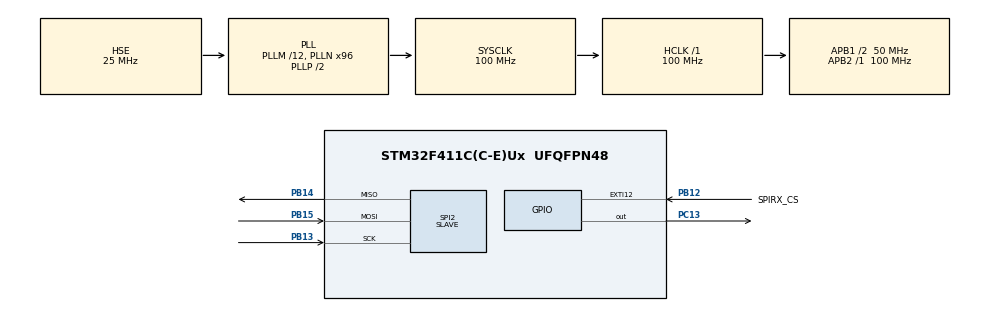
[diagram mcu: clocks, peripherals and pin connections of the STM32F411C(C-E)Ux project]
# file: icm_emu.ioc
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Mcu.Family=STM32F4
Mcu.Name=STM32F411C(C-E)Ux
Mcu.Package=UFQFPN48
NVIC.EXTI15_10_IRQn=true\:0\:0\:false\:false\:true\:true\:true\:true
NVIC.PriorityGroup=NVIC_PRIORITYGROUP_4
NVIC.SPI2_IRQn=true\:0\:0\:false\:false\:true\:true\:true\:true
PB12.GPIO_Label=SPIRX_CS
PB12.GPIO_ModeDefaultEXTI=GPIO_MODE_IT_FALLING
PB12.Signal=GPXTI12
PB13.Mode=Full_Duplex_Slave
PB13.Signal=SPI2_SCK
PB14.Mode=Full_Duplex_Slave
PB14.Signal=SPI2_MISO
PB15.Mode=Full_Duplex_Slave
PB15.Signal=SPI2_MOSI
PC13-ANTI_TAMP.Signal=GPIO_Output
PH0\ -\ OSC_IN.Mode=HSE-External-Oscillator
PH0\ -\ OSC_IN.Signal=RCC_OSC_IN
PH1\ -\ OSC_OUT.Mode=HSE-External-Oscillator
PH1\ -\ OSC_OUT.Signal=RCC_OSC_OUT
ProjectManager.HeapSize=0x200
ProjectManager.StackSize=0x400
ProjectManager.TargetToolchain=STM32CubeIDE
RCC.48MHZClocksFreq_Value=50000000
RCC.AHBFreq_Value=100000000
RCC.APB1CLKDivider=RCC_HCLK_DIV2
RCC.APB1Freq_Value=50000000
RCC.APB1TimFreq_Value=100000000
RCC.APB2Freq_Value=100000000
RCC.APB2TimFreq_Value=100000000
RCC.CortexFreq_Value=100000000
RCC.HCLKFreq_Value=100000000
RCC.HSE_VALUE=25000000
RCC.HSI_VALUE=16000000
RCC.LSE_VALUE=32768
RCC.PLLM=12
RCC.PLLN=96
RCC.PLLSourceVirtual=RCC_PLLSOURCE_HSE
RCC.SYSCLKFreq_VALUE=100000000
RCC.SYSCLKSource=RCC_SYSCLKSOURCE_PLLCLK
RCC.VCOOutputFreq_Value=200000000
SPI2.CLKPhase=SPI_PHASE_2EDGE
SPI2.Direction=SPI_DIRECTION_2LINES
SPI2.Mode=SPI_MODE_SLAVE
SPI2.VirtualType=VM_SLAVE
board=custom

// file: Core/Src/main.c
/* USER CODE BEGIN Header */
/**
  ******************************************************************************
  * @file           : main.c
  * @brief          : Main program body
  ******************************************************************************
  * @attention
  *
  * Copyright (c) 2022 STMicroelectronics.
  * All rights reserved.
  *
  * This software is licensed under terms that can be found in the LICENSE file
  * in the root directory of this software component.
  * If no LICENSE file comes with this software, it is provided AS-IS.
  *
  ******************************************************************************
  */
/* USER CODE END Header */
#include "main.h"

/* USER CODE BEGIN PD */
#define B0_WHO_AM_I 	0x80 					// ID register + READ
#define ICM20948_ID		0xEA 					// ID value
/* USER CODE END PD */

 SPI_HandleTypeDef hspi2;

void SystemClock_Config(void);
static void MX_GPIO_Init(void);
static void MX_SPI2_Init(void);

/* USER CODE BEGIN 0 */
uint8_t read_buffer = 0;
uint8_t send_buffer = 0;
HAL_StatusTypeDef error_rx, error_tx;

void HAL_GPIO_EXTI_Callback(uint16_t GPIO_Pin){
	if(GPIO_Pin == SPIRX_CS_Pin){
		if( HAL_GPIO_ReadPin(SPIRX_CS_GPIO_Port, SPIRX_CS_Pin) == GPIO_PIN_RESET ){
			// first abort, otherwise it doesnt work...
			HAL_SPI_Abort_IT(&hspi2);
			error_rx = HAL_SPI_Receive_IT(&hspi2, &read_buffer, 1);
			HAL_GPIO_TogglePin(GPIOC, GPIO_PIN_13);
		} else {
			HAL_SPI_Abort_IT(&hspi2);
		}
	}
}

void HAL_SPI_RxCpltCallback(SPI_HandleTypeDef *hspi){
	// rx operation completed
	if( read_buffer == B0_WHO_AM_I ){
		send_buffer = ICM20948_ID;
	}else {
		send_buffer = 0;
	}
	error_tx = HAL_SPI_Transmit_IT(&hspi2, &send_buffer, 1);
}

/* USER CODE END 0 */

int main(void)
{

  /* MCU Configuration--------------------------------------------------------*/

  /* Reset of all peripherals, Initializes the Flash interface and the Systick. */
  HAL_Init();

  /* Configure the system clock */
  SystemClock_Config();

  /* Initialize all configured peripherals */
  MX_GPIO_Init();
  MX_SPI2_Init();

  /* Infinite loop */
  while (1)
  {

  }
}

void SystemClock_Config(void)
{
  RCC_OscInitTypeDef RCC_OscInitStruct = {0};
  RCC_ClkInitTypeDef RCC_ClkInitStruct = {0};

  /** Configure the main internal regulator output voltage
  */
  __HAL_RCC_PWR_CLK_ENABLE();
  __HAL_PWR_VOLTAGESCALING_CONFIG(PWR_REGULATOR_VOLTAGE_SCALE1);

  /** Initializes the RCC Oscillators according to the specified parameters
  * in the RCC_OscInitTypeDef structure.
  */
  RCC_OscInitStruct.OscillatorType = RCC_OSCILLATORTYPE_HSE;
  RCC_OscInitStruct.HSEState = RCC_HSE_ON;
  RCC_OscInitStruct.PLL.PLLState = RCC_PLL_ON;
  RCC_OscInitStruct.PLL.PLLSource = RCC_PLLSOURCE_HSE;
  RCC_OscInitStruct.PLL.PLLM = 12;
  RCC_OscInitStruct.PLL.PLLN = 96;
  RCC_OscInitStruct.PLL.PLLP = RCC_PLLP_DIV2;
  RCC_OscInitStruct.PLL.PLLQ = 4;
  if (HAL_RCC_OscConfig(&RCC_OscInitStruct) != HAL_OK)
  {
    Error_Handler();
  }

  /** Initializes the CPU, AHB and APB buses clocks
  */
  RCC_ClkInitStruct.ClockType = RCC_CLOCKTYPE_HCLK|RCC_CLOCKTYPE_SYSCLK
                              |RCC_CLOCKTYPE_PCLK1|RCC_CLOCKTYPE_PCLK2;
  RCC_ClkInitStruct.SYSCLKSource = RCC_SYSCLKSOURCE_PLLCLK;
  RCC_ClkInitStruct.AHBCLKDivider = RCC_SYSCLK_DIV1;
  RCC_ClkInitStruct.APB1CLKDivider = RCC_HCLK_DIV2;
  RCC_ClkInitStruct.APB2CLKDivider = RCC_HCLK_DIV1;

  if (HAL_RCC_ClockConfig(&RCC_ClkInitStruct, FLASH_LATENCY_3) != HAL_OK)
  {
    Error_Handler();
  }
}

static void MX_SPI2_Init(void)
{

  /* SPI2 parameter configuration*/
  hspi2.Instance = SPI2;
  hspi2.Init.Mode = SPI_MODE_SLAVE;
  hspi2.Init.Direction = SPI_DIRECTION_2LINES;
  hspi2.Init.DataSize = SPI_DATASIZE_8BIT;
  hspi2.Init.CLKPolarity = SPI_POLARITY_LOW;
  hspi2.Init.CLKPhase = SPI_PHASE_2EDGE;
  hspi2.Init.NSS = SPI_NSS_SOFT;
  hspi2.Init.FirstBit = SPI_FIRSTBIT_MSB;
  hspi2.Init.TIMode = SPI_TIMODE_DISABLE;
  hspi2.Init.CRCCalculation = SPI_CRCCALCULATION_DISABLE;
  hspi2.Init.CRCPolynomial = 10;
  if (HAL_SPI_Init(&hspi2) != HAL_OK)
  {
    Error_Handler();
  }

}

static void MX_GPIO_Init(void)
{
  GPIO_InitTypeDef GPIO_InitStruct = {0};

  /* GPIO Ports Clock Enable */
  __HAL_RCC_GPIOC_CLK_ENABLE();
  __HAL_RCC_GPIOH_CLK_ENABLE();
  __HAL_RCC_GPIOB_CLK_ENABLE();

  /*Configure GPIO pin Output Level */
  HAL_GPIO_WritePin(GPIOC, GPIO_PIN_13, GPIO_PIN_RESET);

  /*Configure GPIO pin : PC13 */
  GPIO_InitStruct.Pin = GPIO_PIN_13;
  GPIO_InitStruct.Mode = GPIO_MODE_OUTPUT_PP;
  GPIO_InitStruct.Pull = GPIO_NOPULL;
  GPIO_InitStruct.Speed = GPIO_SPEED_FREQ_LOW;
  HAL_GPIO_Init(GPIOC, &GPIO_InitStruct);

  /*Configure GPIO pin : SPIRX_CS_Pin */
  GPIO_InitStruct.Pin = SPIRX_CS_Pin;
  GPIO_InitStruct.Mode = GPIO_MODE_IT_FALLING;
  GPIO_InitStruct.Pull = GPIO_NOPULL;
  HAL_GPIO_Init(SPIRX_CS_GPIO_Port, &GPIO_InitStruct);

  /* EXTI interrupt init*/
  HAL_NVIC_SetPriority(EXTI15_10_IRQn, 0, 0);
  HAL_NVIC_EnableIRQ(EXTI15_10_IRQn);

}

void Error_Handler(void)
{
  __disable_irq();
  while (1)
  {
  }
}
